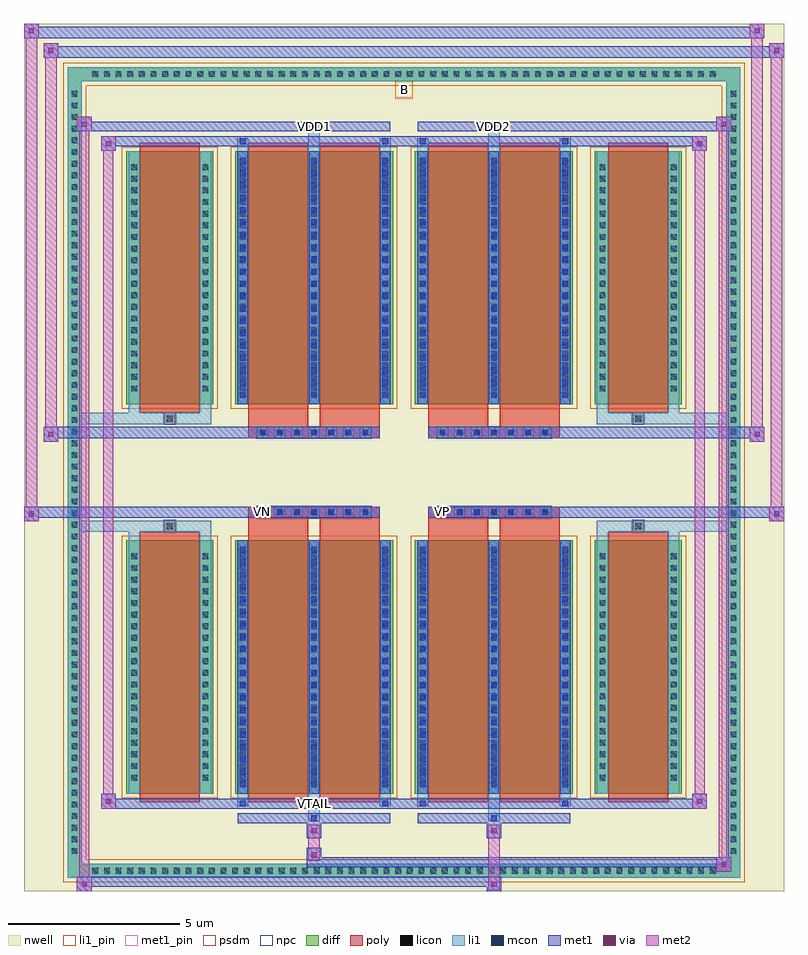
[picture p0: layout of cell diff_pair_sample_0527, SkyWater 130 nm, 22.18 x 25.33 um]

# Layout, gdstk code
import gdstk
lib = gdstk.Library(unit=1e-6, precision=5e-09)
def R(c, l, rs):  # rectangles x0, y0, x1, y1
    for r in rs: c.add(gdstk.rectangle(r[:2], r[2:], *l))
def A(c, l, x, y, w, h, nx, ny, dx, dy):  # array of equal rectangles
    R(c, l, [(x+i*dx, y+j*dy, x+i*dx+w, y+j*dy+h) for i in range(nx) for j in range(ny)])
def P(c, l, *ps):  # polygons
    for p in ps: c.add(gdstk.Polygon(p, *l))
nwell = (64, 20)
diff = (65, 20)
poly = (66, 20)
licon = (66, 44)
li1_pin = (67, 16)
li1 = (67, 20)
mcon = (67, 44)
met1_pin = (68, 16)
met1 = (68, 20)
via = (68, 44)
met2 = (69, 20)
psdm = (94, 20)
npc = (95, 20)

diff_pair_sample_0527 = lib.new_cell('diff_pair_sample_0527')
R(diff_pair_sample_0527, nwell, [(-11.09,-12.23,11.09,13.1), (-8.41,-10.42,-0.01,-0.8), (0.01,-10.42,8.41,-0.8), (-8.41,0.8,-0.01,10.42), (0.01,0.8,8.41,10.42)])
A(diff_pair_sample_0527, diff, -9.215, -11.83, 0.41, 0.41, 54, 2, 0.34, 23.25)
A(diff_pair_sample_0527, diff, -9.82, -11.255, 0.41, 0.41, 1, 66, 0, 0.34)
A(diff_pair_sample_0527, diff, 9.41, -11.255, 0.41, 0.41, 1, 66, 0, 0.34)
R(diff_pair_sample_0527, diff, [(-9.215,-11.83,9.215,-11.42), (-9.82,-11.255,-9.41,11.255), (9.41,-11.255,9.82,11.255), (-8.1,-9.375,-5.57,-1.985), (-4.93,-9.375,-0.32,-1.985), (0.32,-9.375,4.93,-1.985), (5.57,-9.375,8.1,-1.985), (-8.1,1.985,-5.57,9.375), (-4.93,1.985,-0.32,9.375), (0.32,1.985,4.93,9.375), (5.57,1.985,8.1,9.375), (-9.215,11.42,9.215,11.83)])
P(diff_pair_sample_0527, diff, [(9.82,11.83),(-9.82,11.83),(-9.82,-11.42),(-9.41,-11.42),(-9.41,11.42),(9.41,11.42),(9.41,-11.42),(-9.41,-11.42),(-9.82,-11.42),(-9.82,-11.83),(9.82,-11.83)])
A(diff_pair_sample_0527, poly, -4.29, -1.33, 0.33, 0.33, 7, 2, 0.5, 2.33)
A(diff_pair_sample_0527, poly, 0.96, -1.33, 0.33, 0.33, 7, 2, 0.5, 2.33)
R(diff_pair_sample_0527, poly, [(-7.71,-9.625,-5.96,-1.735), (-4.54,-9.625,-2.79,-1.735), (-2.46,-9.625,-0.71,-1.735), (0.71,-9.625,2.46,-1.735), (2.79,-9.625,4.54,-1.735), (5.96,-9.625,7.71,-1.735), (-7,-1.735,-6.67,-1.405), (-7,-1.735,-6.67,-1.405), (-4.54,-1.735,-2.79,-1.33), (-2.46,-1.735,-0.71,-1.33), (0.71,-1.735,2.46,-1.33), (2.79,-1.735,4.54,-1.33), (6.67,-1.735,7,-1.405), (6.67,-1.735,7,-1.405), (-4.54,-1.33,-0.71,-1), (0.71,-1.33,4.54,-1), (-4.54,1,-0.71,1.33), (0.71,1,4.54,1.33), (-4.54,1.33,-2.79,1.735), (-2.46,1.33,-0.71,1.735), (0.71,1.33,2.46,1.735), (2.79,1.33,4.54,1.735), (-7,1.405,-6.67,1.735), (-7,1.405,-6.67,1.735), (6.67,1.405,7,1.735), (6.67,1.405,7,1.735), (-7.71,1.735,-5.96,9.625), (-4.54,1.735,-2.79,9.625), (-2.46,1.735,-0.71,9.625), (0.71,1.735,2.46,9.625), (2.79,1.735,4.54,9.625), (5.96,1.735,7.71,9.625)])
A(diff_pair_sample_0527, licon, -9.095, -11.71, 0.17, 0.17, 54, 2, 0.34, 23.25)
A(diff_pair_sample_0527, licon, -9.7, -11.135, 0.17, 0.17, 1, 66, 0, 0.34)
A(diff_pair_sample_0527, licon, 9.53, -11.135, 0.17, 0.17, 1, 66, 0, 0.34)
A(diff_pair_sample_0527, licon, -7.96, -8.995, 0.17, 0.17, 1, 20, 0, 0.34)
A(diff_pair_sample_0527, licon, -5.88, -8.995, 0.17, 0.17, 1, 20, 0, 0.34)
A(diff_pair_sample_0527, licon, -4.79, -8.995, 0.17, 0.17, 3, 20, 2.08, 0.34)
A(diff_pair_sample_0527, licon, 0.46, -8.995, 0.17, 0.17, 3, 20, 2.08, 0.34)
A(diff_pair_sample_0527, licon, 5.71, -8.995, 0.17, 0.17, 1, 20, 0, 0.34)
A(diff_pair_sample_0527, licon, 7.79, -8.995, 0.17, 0.17, 1, 20, 0, 0.34)
A(diff_pair_sample_0527, licon, -4.21, -1.25, 0.17, 0.17, 7, 2, 0.5, 2.33)
A(diff_pair_sample_0527, licon, 1.04, -1.25, 0.17, 0.17, 7, 2, 0.5, 2.33)
A(diff_pair_sample_0527, licon, -7.96, 2.365, 0.17, 0.17, 1, 20, 0, 0.34)
A(diff_pair_sample_0527, licon, -5.88, 2.365, 0.17, 0.17, 1, 20, 0, 0.34)
A(diff_pair_sample_0527, licon, -4.79, 2.365, 0.17, 0.17, 3, 20, 2.08, 0.34)
A(diff_pair_sample_0527, licon, 0.46, 2.365, 0.17, 0.17, 3, 20, 2.08, 0.34)
A(diff_pair_sample_0527, licon, 5.71, 2.365, 0.17, 0.17, 1, 20, 0, 0.34)
A(diff_pair_sample_0527, licon, 7.79, 2.365, 0.17, 0.17, 1, 20, 0, 0.34)
R(diff_pair_sample_0527, licon, [(-6.92,-1.655,-6.75,-1.485), (6.75,-1.655,6.92,-1.485), (-6.92,1.485,-6.75,1.655), (6.75,1.485,6.92,1.655)])
R(diff_pair_sample_0527, li1_pin, [(-0.25,10.92,0.25,11.42)])
A(diff_pair_sample_0527, li1, -9.175, -11.79, 0.33, 0.33, 54, 2, 0.34, 23.25)
A(diff_pair_sample_0527, li1, -9.78, -11.215, 0.33, 0.33, 1, 66, 0, 0.34)
A(diff_pair_sample_0527, li1, 9.45, -11.215, 0.33, 0.33, 1, 66, 0, 0.34)
A(diff_pair_sample_0527, li1, -4.87, -9.375, 0.33, 7.39, 3, 2, 2.08, 11.36)
A(diff_pair_sample_0527, li1, 0.38, -9.375, 0.33, 7.39, 3, 2, 2.08, 11.36)
A(diff_pair_sample_0527, li1, -4.79, -9.185, 0.17, 0.17, 3, 20, 2.08, 0.36)
A(diff_pair_sample_0527, li1, -4.79, -9.185, 0.17, 7.01, 3, 2, 2.08, 11.36)
A(diff_pair_sample_0527, li1, 0.46, -9.185, 0.17, 0.17, 3, 20, 2.08, 0.36)
A(diff_pair_sample_0527, li1, 0.46, -9.185, 0.17, 7.01, 3, 2, 2.08, 11.36)
A(diff_pair_sample_0527, li1, -8.04, -9.075, 0.33, 0.33, 1, 20, 0, 0.34)
A(diff_pair_sample_0527, li1, -5.96, -9.075, 0.33, 0.33, 1, 20, 0, 0.34)
A(diff_pair_sample_0527, li1, -4.87, -9.075, 0.33, 0.33, 3, 20, 2.08, 0.34)
A(diff_pair_sample_0527, li1, 0.38, -9.075, 0.33, 0.33, 3, 20, 2.08, 0.34)
A(diff_pair_sample_0527, li1, 5.63, -9.075, 0.33, 0.33, 1, 20, 0, 0.34)
A(diff_pair_sample_0527, li1, 7.71, -9.075, 0.33, 0.33, 1, 20, 0, 0.34)
A(diff_pair_sample_0527, li1, -4.29, -1.33, 0.33, 0.33, 7, 2, 0.5, 2.33)
A(diff_pair_sample_0527, li1, 0.96, -1.33, 0.33, 0.33, 7, 2, 0.5, 2.33)
A(diff_pair_sample_0527, li1, -4.79, 2.175, 0.17, 0.17, 3, 20, 2.08, 0.36)
A(diff_pair_sample_0527, li1, 0.46, 2.175, 0.17, 0.17, 3, 20, 2.08, 0.36)
A(diff_pair_sample_0527, li1, -8.04, 2.285, 0.33, 0.33, 1, 20, 0, 0.34)
A(diff_pair_sample_0527, li1, -5.96, 2.285, 0.33, 0.33, 1, 20, 0, 0.34)
A(diff_pair_sample_0527, li1, -4.87, 2.285, 0.33, 0.33, 3, 20, 2.08, 0.34)
A(diff_pair_sample_0527, li1, 0.38, 2.285, 0.33, 0.33, 3, 20, 2.08, 0.34)
A(diff_pair_sample_0527, li1, 5.63, 2.285, 0.33, 0.33, 1, 20, 0, 0.34)
A(diff_pair_sample_0527, li1, 7.71, 2.285, 0.33, 0.33, 1, 20, 0, 0.34)
R(diff_pair_sample_0527, li1, [(-9.82,-11.83,-9.41,-11.42), (-9.82,-11.83,-9.41,-11.42), (-9.41,-11.83,9.41,-11.42), (9.41,-11.83,9.82,-11.42), (9.41,-11.83,9.82,-11.42), (-9.82,-11.42,-9.41,11.42), (9.41,-11.42,9.82,11.42), (-2.79,-10.18,-2.46,-9.375), (-2.71,-10.18,-2.54,-10.01), (2.46,-10.18,2.79,-9.375), (2.54,-10.18,2.71,-10.01), (-4.87,-9.75,-4.54,-9.375), (-4.79,-9.75,-4.62,-9.58), (-0.71,-9.75,-0.38,-9.375), (-0.63,-9.75,-0.46,-9.58), (0.38,-9.75,0.71,-9.375), (0.46,-9.75,0.63,-9.58), (4.54,-9.75,4.87,-9.375), (4.62,-9.75,4.79,-9.58), (-8.04,-9.375,-7.71,-1.985), (-5.96,-9.375,-5.63,-1.985), (5.63,-9.375,5.96,-1.985), (7.71,-9.375,8.04,-1.985), (-8.04,-1.985,-7.71,-1.405), (-5.96,-1.985,-5.63,-1.405), (5.63,-1.985,5.96,-1.405), (7.71,-1.985,8.04,-1.405), (-9.82,-1.735,-7,-1.405), (-8.04,-1.735,-7,-1.405), (-7,-1.735,-6.67,-1.405), (-6.67,-1.735,-5.63,-1.405), (5.63,-1.735,6.67,-1.405), (6.67,-1.735,7,-1.405), (6.67,-1.735,9.82,-1.405), (7,-1.735,8.04,-1.405), (-9.82,1.405,-7,1.735), (-8.04,1.405,-7,1.735), (-8.04,1.405,-7.71,1.985), (-7,1.405,-6.67,1.735), (-6.67,1.405,-5.63,1.735), (-5.96,1.405,-5.63,1.985), (5.63,1.405,6.67,1.735), (5.63,1.405,5.96,1.985), (6.67,1.405,7,1.735), (6.67,1.405,9.82,1.735), (7,1.405,8.04,1.735), (7.71,1.405,8.04,1.985), (-8.04,1.985,-7.71,9.375), (-5.96,1.985,-5.63,9.375), (5.63,1.985,5.96,9.375), (7.71,1.985,8.04,9.375), (-4.87,9.375,-4.54,9.75), (-2.79,9.375,-2.46,10.18), (-0.71,9.375,-0.38,9.75), (0.38,9.375,0.71,9.75), (2.46,9.375,2.79,10.18), (4.54,9.375,4.87,9.75), (-4.79,9.58,-4.62,9.75), (-0.63,9.58,-0.46,9.75), (0.46,9.58,0.63,9.75), (4.62,9.58,4.79,9.75), (-2.71,10.01,-2.54,10.18), (2.54,10.01,2.71,10.18), (-9.82,11.42,-9.41,11.83), (-9.82,11.42,-9.41,11.83), (-9.41,11.42,9.41,11.83), (9.41,11.42,9.82,11.83), (9.41,11.42,9.82,11.83)])
A(diff_pair_sample_0527, mcon, -4.79, -9.185, 0.17, 0.17, 3, 20, 2.08, 0.36)
A(diff_pair_sample_0527, mcon, 0.46, -9.185, 0.17, 0.17, 3, 20, 2.08, 0.36)
A(diff_pair_sample_0527, mcon, -4.21, -1.25, 0.17, 0.17, 7, 2, 0.5, 2.33)
A(diff_pair_sample_0527, mcon, 1.04, -1.25, 0.17, 0.17, 7, 2, 0.5, 2.33)
A(diff_pair_sample_0527, mcon, -4.79, 2.175, 0.17, 0.17, 3, 20, 2.08, 0.36)
A(diff_pair_sample_0527, mcon, 0.46, 2.175, 0.17, 0.17, 3, 20, 2.08, 0.36)
R(diff_pair_sample_0527, mcon, [(-2.71,-10.18,-2.54,-10.01), (2.54,-10.18,2.71,-10.01), (-4.79,-9.75,-4.62,-9.58), (-0.63,-9.75,-0.46,-9.58), (0.46,-9.75,0.63,-9.58), (4.62,-9.75,4.79,-9.58), (-4.79,9.58,-4.62,9.75), (-0.63,9.58,-0.46,9.75), (0.46,9.58,0.63,9.75), (4.62,9.58,4.79,9.75), (-2.71,10.01,-2.54,10.18), (2.54,10.01,2.71,10.18)])
R(diff_pair_sample_0527, met1_pin, [(-2.76,-9.79,-2.49,-9.52), (-4.26,-1.29,-3.99,-1.02), (0.99,-1.29,1.26,-1.02), (-2.76,9.97,-2.49,10.24), (2.49,9.97,2.76,10.24)])
A(diff_pair_sample_0527, met1, -4.85, -9.375, 0.29, 7.39, 3, 2, 2.08, 11.36)
A(diff_pair_sample_0527, met1, 0.4, -9.375, 0.29, 7.39, 3, 2, 2.08, 11.36)
A(diff_pair_sample_0527, met1, -4.85, -9.245, 0.29, 0.29, 3, 20, 2.08, 0.36)
A(diff_pair_sample_0527, met1, 0.4, -9.245, 0.29, 0.29, 3, 20, 2.08, 0.36)
A(diff_pair_sample_0527, met1, -4.27, -1.31, 0.29, 0.29, 7, 2, 0.5, 2.33)
A(diff_pair_sample_0527, met1, 0.98, -1.31, 0.29, 0.29, 7, 2, 0.5, 2.33)
A(diff_pair_sample_0527, met1, -4.85, 2.115, 0.29, 0.29, 3, 20, 2.08, 0.36)
A(diff_pair_sample_0527, met1, 0.4, 2.115, 0.29, 0.29, 3, 20, 2.08, 0.36)
R(diff_pair_sample_0527, met1, [(-9.55,-12.23,-9.12,-11.8), (2.41,-12.23,2.84,-11.8), (-9.55,-12.09,2.84,-11.8), (9.12,-11.66,9.55,-11.23), (-2.84,-11.52,9.55,-11.23), (-2.84,-11.38,-2.41,-10.95), (-2.84,-10.67,-2.41,-10.24), (2.41,-10.67,2.84,-10.24), (-4.85,-10.24,-0.4,-9.95), (-2.77,-10.24,-2.48,-9.95), (0.4,-10.24,4.85,-9.95), (2.48,-10.24,2.77,-9.95), (-8.84,-9.81,-8.41,-9.38), (-8.84,-9.81,-4.85,-9.52), (-4.85,-9.81,-4.56,-9.52), (-4.85,-9.81,-0.4,-9.52), (-0.69,-9.81,-0.4,-9.52), (-0.4,-9.81,0.4,-9.52), (0.4,-9.81,0.69,-9.52), (0.4,-9.81,4.85,-9.52), (4.56,-9.81,4.85,-9.52), (4.85,-9.81,8.84,-9.52), (8.41,-9.81,8.84,-9.38), (-11.09,-1.43,-10.66,-1), (10.66,-1.43,11.09,-1), (-11.09,-1.33,-0.71,-1), (-4.54,-1.33,-0.71,-1), (0.71,-1.33,4.54,-1), (0.71,-1.33,11.09,-1), (-10.52,0.9,-10.09,1.33), (10.09,0.9,10.52,1.33), (-10.52,1,-4.54,1.33), (-4.54,1,-0.71,1.33), (0.71,1,4.54,1.33), (4.54,1,10.52,1.33), (-8.84,9.38,-8.41,9.81), (8.41,9.38,8.84,9.81), (-8.84,9.52,-4.85,9.81), (-4.85,9.52,-4.56,9.81), (-4.85,9.52,-0.4,9.81), (-0.69,9.52,-0.4,9.81), (-0.4,9.52,0.4,9.81), (0.4,9.52,0.69,9.81), (0.4,9.52,4.85,9.81), (4.56,9.52,4.85,9.81), (4.85,9.52,8.84,9.81), (-9.55,9.95,-9.12,10.38), (-9.55,9.95,-4.85,10.24), (-4.85,9.95,-0.4,10.24), (-2.77,9.95,-2.48,10.24), (0.4,9.95,4.85,10.24), (2.48,9.95,2.77,10.24), (4.85,9.95,9.55,10.24), (9.12,9.95,9.55,10.38), (-10.52,12.1,-10.09,12.53), (-10.52,12.1,-8.41,12.43), (-8.41,12.1,8.41,12.43), (8.41,12.1,11.09,12.43), (10.66,12.1,11.09,12.53), (-11.09,12.67,-10.66,13.1), (-11.09,12.67,-8.41,13), (-8.41,12.67,8.41,13), (8.41,12.67,10.52,13), (10.09,12.67,10.52,13.1)])
R(diff_pair_sample_0527, via, [(-9.41,-12.09,-9.26,-11.94), (2.55,-12.09,2.7,-11.94), (9.26,-11.52,9.41,-11.37), (-2.7,-11.24,-2.55,-11.09), (-2.7,-10.53,-2.55,-10.38), (2.55,-10.53,2.7,-10.38), (-8.7,-9.67,-8.55,-9.52), (8.55,-9.67,8.7,-9.52), (-10.95,-1.29,-10.8,-1.14), (10.8,-1.29,10.95,-1.14), (-10.38,1.04,-10.23,1.19), (10.23,1.04,10.38,1.19), (-8.7,9.52,-8.55,9.67), (8.55,9.52,8.7,9.67), (-9.41,10.09,-9.26,10.24), (9.26,10.09,9.41,10.24), (-10.38,12.24,-10.23,12.39), (10.8,12.24,10.95,12.39), (-10.95,12.81,-10.8,12.96), (10.23,12.81,10.38,12.96)])
R(diff_pair_sample_0527, met2, [(-9.55,-12.23,-9.12,-11.8), (-9.48,-12.23,-9.19,10.38), (-9.19,-12.23,-9.12,-11.8), (-9.5,-12.18,-9.17,-11.85), (2.46,-12.18,2.79,-11.85), (2.46,-11.85,2.79,-10.62), (9.12,-11.66,9.55,-11.23), (9.19,-11.66,9.48,10.38), (9.48,-11.66,9.55,-11.23), (9.17,-11.61,9.5,-11.28), (-2.79,-11.33,-2.46,-11), (-2.79,-11,-2.46,-10.62), (-2.79,-10.62,-2.46,-10.29), (2.46,-10.62,2.79,-10.29), (-8.84,-9.81,-8.41,-9.38), (-8.77,-9.81,-8.48,9.81), (-8.48,-9.81,-8.41,-9.38), (8.41,-9.81,8.84,-9.38), (8.48,-9.81,8.77,9.81), (8.77,-9.81,8.84,-9.38), (-8.79,-9.76,-8.46,-9.43), (8.46,-9.76,8.79,-9.43), (-11.09,-1.43,-10.66,-1), (-11.04,-1.43,-10.71,13.1), (-10.71,-1.43,-10.66,-1), (10.66,-1.43,11.09,-1), (10.71,-1.43,11.04,12.53), (11.04,-1.43,11.09,-1), (-11.04,-1.38,-10.71,-1.05), (10.71,-1.38,11.04,-1.05), (-10.52,0.9,-10.09,1.33), (-10.47,0.9,-10.14,12.53), (-10.14,0.9,-10.09,1.33), (10.09,0.9,10.52,1.33), (10.14,0.9,10.47,13.1), (10.47,0.9,10.52,1.33), (-10.47,0.95,-10.14,1.28), (10.14,0.95,10.47,1.28), (-8.84,9.38,-8.41,9.81), (-8.48,9.38,-8.41,9.81), (8.41,9.38,8.84,9.81), (8.77,9.38,8.84,9.81), (-8.79,9.43,-8.46,9.76), (8.46,9.43,8.79,9.76), (-9.55,9.95,-9.12,10.38), (-9.19,9.95,-9.12,10.38), (9.12,9.95,9.55,10.38), (9.48,9.95,9.55,10.38), (-9.5,10,-9.17,10.33), (9.17,10,9.5,10.33), (-10.52,12.1,-10.09,12.53), (-10.14,12.1,-10.09,12.53), (10.66,12.1,11.09,12.53), (11.04,12.1,11.09,12.53), (-10.47,12.15,-10.14,12.48), (10.71,12.15,11.04,12.48), (-11.09,12.67,-10.66,13.1), (-10.71,12.67,-10.66,13.1), (10.09,12.67,10.52,13.1), (10.47,12.67,10.52,13.1), (-11.04,12.72,-10.71,13.05), (10.14,12.72,10.47,13.05)])
R(diff_pair_sample_0527, psdm, [(-8.23,-9.505,-5.44,-1.855), (-5.06,-9.505,-0.19,-1.855), (0.19,-9.505,5.06,-1.855), (5.44,-9.505,8.23,-1.855), (-8.23,1.855,-5.44,9.505), (-5.06,1.855,-0.19,9.505), (0.19,1.855,5.06,9.505), (5.44,1.855,8.23,9.505)])
P(diff_pair_sample_0527, psdm, [(9.95,11.96),(-9.95,11.96),(-9.95,-11.29),(-9.28,-11.29),(-9.28,11.29),(9.28,11.29),(9.28,-11.29),(-9.28,-11.29),(-9.95,-11.29),(-9.95,-11.96),(9.95,-11.96)])
A(diff_pair_sample_0527, npc, -4.31, -1.35, 0.37, 0.37, 7, 2, 0.5, 2.33)
A(diff_pair_sample_0527, npc, 0.94, -1.35, 0.37, 0.37, 7, 2, 0.5, 2.33)
R(diff_pair_sample_0527, npc, [(-7.02,-1.755,-6.65,-1.385), (6.65,-1.755,7.02,-1.385), (-4.31,-1.35,-3.44,-0.98), (-4.31,-1.35,-3.44,-0.98), (-3.81,-1.35,-2.94,-0.98), (-3.81,-1.35,-2.94,-0.98), (-3.31,-1.35,-2.44,-0.98), (-3.31,-1.35,-2.44,-0.98), (-2.81,-1.35,-1.94,-0.98), (-2.81,-1.35,-1.94,-0.98), (-2.31,-1.35,-1.44,-0.98), (-2.31,-1.35,-1.44,-0.98), (-1.81,-1.35,-0.94,-0.98), (-1.81,-1.35,-0.94,-0.98), (0.94,-1.35,1.81,-0.98), (0.94,-1.35,1.81,-0.98), (1.44,-1.35,2.31,-0.98), (1.44,-1.35,2.31,-0.98), (1.94,-1.35,2.81,-0.98), (1.94,-1.35,2.81,-0.98), (2.44,-1.35,3.31,-0.98), (2.44,-1.35,3.31,-0.98), (2.94,-1.35,3.81,-0.98), (2.94,-1.35,3.81,-0.98), (3.44,-1.35,4.31,-0.98), (3.44,-1.35,4.31,-0.98), (-4.31,0.98,-3.44,1.35), (-4.31,0.98,-3.44,1.35), (-3.81,0.98,-2.94,1.35), (-3.81,0.98,-2.94,1.35), (-3.31,0.98,-2.44,1.35), (-3.31,0.98,-2.44,1.35), (-2.81,0.98,-1.94,1.35), (-2.81,0.98,-1.94,1.35), (-2.31,0.98,-1.44,1.35), (-2.31,0.98,-1.44,1.35), (-1.81,0.98,-0.94,1.35), (-1.81,0.98,-0.94,1.35), (0.94,0.98,1.81,1.35), (0.94,0.98,1.81,1.35), (1.44,0.98,2.31,1.35), (1.44,0.98,2.31,1.35), (1.94,0.98,2.81,1.35), (1.94,0.98,2.81,1.35), (2.44,0.98,3.31,1.35), (2.44,0.98,3.31,1.35), (2.94,0.98,3.81,1.35), (2.94,0.98,3.81,1.35), (3.44,0.98,4.31,1.35), (3.44,0.98,4.31,1.35), (-7.02,1.385,-6.65,1.755), (6.65,1.385,7.02,1.755)])
diff_pair_sample_0527.add(gdstk.Label('VTAIL', (-2.625,-9.655), layer=68, texttype=5))
diff_pair_sample_0527.add(gdstk.Label('VN', (-4.125,-1.155), layer=68, texttype=5))
diff_pair_sample_0527.add(gdstk.Label('VP', (1.125,-1.155), layer=68, texttype=5))
diff_pair_sample_0527.add(gdstk.Label('B', (0,11.17), layer=67, texttype=5))
diff_pair_sample_0527.add(gdstk.Label('VDD2', (2.625,10.105), layer=68, texttype=5))
diff_pair_sample_0527.add(gdstk.Label('VDD1', (-2.625,10.105), layer=68, texttype=5))

lib.write_gds('diff_pair_sample_0527.gds')
